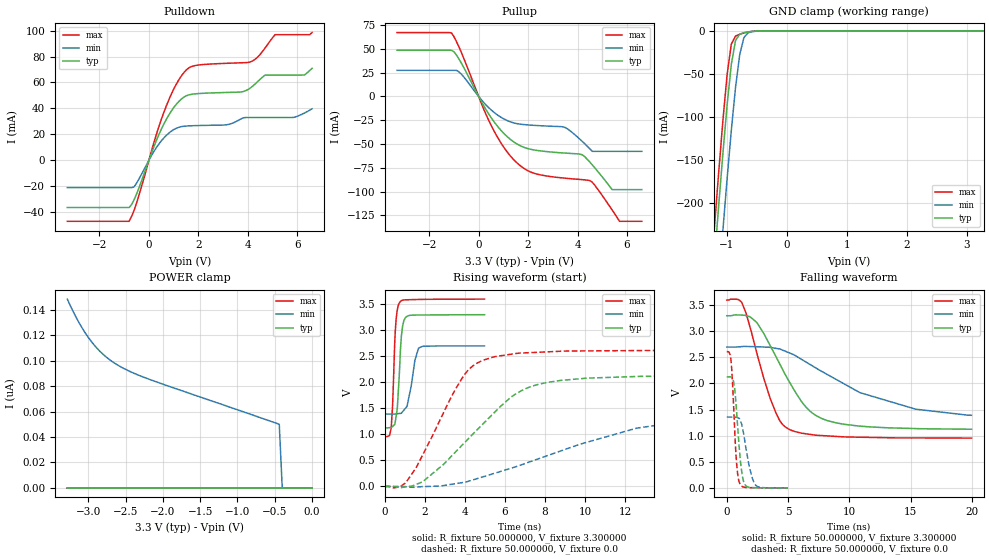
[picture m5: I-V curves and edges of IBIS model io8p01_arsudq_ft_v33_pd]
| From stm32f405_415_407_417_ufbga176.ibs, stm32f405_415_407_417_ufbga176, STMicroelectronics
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|   Model io8p01_arsudq_ft_v33_pd
[Model]  io8p01_arsudq_ft_v33_pd
Model_type I/O
Polarity   Non-Inverting
Enable   Active-Low
Vinl =   0.990000V
Vinh =   2.310000V
Vmeas =  1.650000V
Cref =   50.000000pF
Rref =   100.000000M
Vref =   0.0V
C_comp   2.292100pF   2.219400pF   2.369900pF
[Temperature Range]   25.000000   0.125000k   -40.000000
[Pullup Reference]   3.300000V   2.700000V   3.600000V
[Pulldown Reference]   0.0V   0.0V   0.0V
[POWER Clamp Reference]   3.300000V   2.700000V   3.600000V
[GND Clamp Reference]   0.0V   0.0V   0.0V
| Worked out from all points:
|   slope of the pulldown table from 0 to 0.495 V, typ, clamps not added: 20.9 ohm
|   slope of the pullup table from 0 to 0.495 V, typ, clamps not added: 22.6 ohm
|   GND clamp passes 1 mA (typ) near -0.62 V on its own axis
|   rising waveform, R_fixture 50.000000, V_fixture 3.300000: 20-80 % time 191ps typ, 344ps min, 162ps max; typ from 1.12 V to 3.3 V
|   rising waveform, R_fixture 50.000000, V_fixture 0.0: 20-80 % time 3.33ns typ, 6.63ns min, 2.1ns max; typ from 0 V to 2.13 V
|   falling waveform, R_fixture 50.000000, V_fixture 3.300000: 20-80 % time 3.18ns typ, 7.05ns min, 2.02ns max; typ from 3.3 V to 1.12 V
|   falling waveform, R_fixture 50.000000, V_fixture 0.0: 20-80 % time 434ps typ, 650ps min, 337ps max; typ from 2.13 V to 0 V
[Pulldown]
|Voltage   I(typ)   I(min)   I(max)
-3.3V     -36.46mA   -21.1mA    -47.09mA
-800mV    -36.46mA   -21.1mA    -47.09mA
-600mV    -30.5mA    -20.54mA   -38.69mA
700mV     31.4mA     19.11mA    41.71mA
1.2V      45.15mA    25.37mA    61.75mA
1.6V      50.35mA    26.5mA     71.06mA
3.1V      52.27mA    27.26mA    74.75mA
4.1V      55.69mA    32.97mA    75.8mA
4.7V      65.7mA     32.97mA    86.63mA
5.1V      65.7mA     32.97mA    96.89mA
6.3V      65.87mA    36.5mA     96.89mA
6.6V      70.93mA    39.71mA    98.5mA
[Pullup]
|Voltage   I(typ)   I(min)   I(max)
-3.3V     48.5mA     27.42mA    67.11mA
-1.1V     48.5mA     27.42mA    66.85mA
-700mV    35.13mA    23.47mA    46.35mA
500mV     -22.07mA   -14mA      -30.03mA
1.5V      -49.1mA    -28.3mA    -68.56mA
2.2V      -56.04mA   -30.32mA   -80.35mA
3.5V      -59.53mA   -32.65mA   -85.92mA
4.2V      -61.43mA   -47.47mA   -87.46mA
4.5V      -69.06mA   -55.01mA   -88.38mA
5.4V      -97.9mA    -57.7mA    -119.3mA
5.7V      -97.9mA    -57.7mA    -131.2mA
6.6V      -97.9mA    -57.7mA    -131.2mA
[GND_clamp]
|Voltage   I(typ)   I(min)   I(max)
-3.3V     -2.314A    -2.394A    -2.288A
-1.2V     -265.5mA   -356.1mA   -227.2mA
-1.13V    -202.7mA   -292.9mA   -164.1mA
-1.06V    -142.2mA   -231.2mA   -104.1mA
-990mV    -85.98mA   -171.6mA   -50.73mA
-920mV    -38.81mA   -115.5mA   -15.29mA
-850mV    -11.09mA   -65.61mA   -6.016mA
-780mV    -3.793mA   -27.42mA   -3.89mA
-710mV    -2.098mA   -7.698mA   -2.396mA
-640mV    -1.159mA   -2.127mA   -1.234mA
-570mV    -535.1uA   -807.4uA   -490.2uA
3.28V     81.28uA    57.87uA    93.98uA
[POWER_clamp]
|Voltage   I(typ)   I(min)   I(max)
-3.28V    0A         148.5nA    0A
-3.2V     0A         138.6nA    0A
-3.12V    0A         129.7nA    0A
-3.04V    0A         122nA      0A
-2.96V    0A         115.3nA    0A
-2.8V     0A         105.1nA    0A
-2.6V     0A         96.44nA    0A
-2.4V     0A         90.52nA    0A
-2.16V    0A         84.97nA    0A
-440mV    0A         50.04nA    0A
-400mV    0A         0A         0A
0V        0A         0A         0A
[Ramp]
| variable   typ   min   max
dV/dt_r  1.27692/3.32542n   0.80034/6.65666n   1.56636/2.09448n
dV/dt_f  1.30230/3.18469n   0.74388/7.04330n   1.58741/2.02192n
R_load = 50.000000
[Rising Waveform]
R_fixture= 50.000000
V_fixture= 3.300000
V_fixture_min= 2.700000
V_fixture_max= 3.600000
|time   V(typ)   V(min)   V(max)
0s        1.123V     1.391V     953.8mV
320.3ps   1.132V     1.39V      1.121V
550.6ps   1.308V     1.393V     3.129V
630.6ps   1.532V     1.396V     3.399V
750.8ps   2.357V     1.402V     3.538V
830.8ps   2.89V      1.409V     3.567V
961ps     3.19V      1.468V     3.582V
1.111ns   3.267V     1.537V     3.585V
1.692ns   3.292V     2.659V     3.591V
4.985ns   3.299V     2.699V     3.598V
[Rising Waveform]
R_fixture= 50.000000
V_fixture= 0.0
V_fixture_min= 0.0
V_fixture_max= 0.0
|time   V(typ)   V(min)   V(max)
0s        195.8uV    84.5uV     747.4uV
1.081ns   -6.551mV   -5.321mV   86.62mV
1.922ns   98.61mV    -3.131mV   625.6mV
3.844ns   784.1mV    70.93mV    2.067V
4.885ns   1.192V     181.5mV    2.421V
6.486ns   1.763V     370.1mV    2.549V
8.128ns   1.998V     591.5mV    2.585V
12.61ns   2.112V     1.121V     2.61V
15.54ns   2.121V     1.282V     2.611V
19.94ns   2.127V     1.358V     2.611V
[Falling Waveform]
R_fixture= 50.000000
V_fixture= 3.300000
V_fixture_min= 2.700000
V_fixture_max= 3.600000
|time   V(typ)   V(min)   V(max)
0s        3.299V     2.699V     3.598V
1.201ns   3.311V     2.707V     3.562V
2.442ns   3.171V     2.705V     2.591V
3.524ns   2.733V     2.692V     1.726V
4.284ns   2.39V      2.663V     1.302V
5.005ns   2.07V      2.596V     1.132V
6.446ns   1.549V     2.412V     1.036V
8.288ns   1.283V     2.16V      994.6mV
15.38ns   1.136V     1.509V     957mV
19.94ns   1.123V     1.391V     953.8mV
[Falling Waveform]
R_fixture= 50.000000
V_fixture= 0.0
V_fixture_min= 0.0
V_fixture_max= 0.0
|time   V(typ)   V(min)   V(max)
0s        2.127V     1.358V     2.611V
340.3ps   2.124V     1.357V     2.457V
550.6ps   2.044V     1.357V     1.621V
810.8ps   1.436V     1.352V     454.1mV
1.071ns   634.6mV    1.305V     80.38mV
1.251ns   257.7mV    1.183V     26.57mV
1.431ns   86.4mV     961.7mV    12.02mV
1.822ns   11mV       425.2mV    4.445mV
2.332ns   2.397mV    59.28mV    2.315mV
4.985ns   195.8uV    84.5uV     747.4uV
